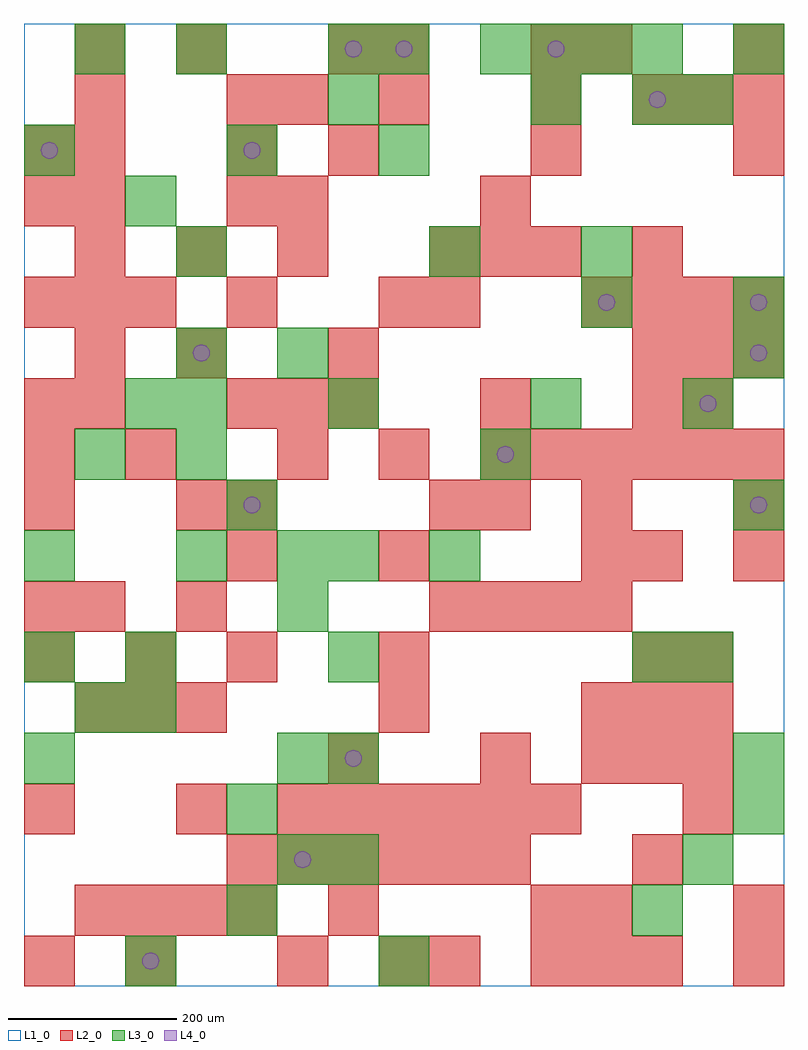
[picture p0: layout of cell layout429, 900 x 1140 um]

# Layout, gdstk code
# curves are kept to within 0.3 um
import gdstk
lib = gdstk.Library(unit=1e-6, precision=1e-09)
def R(c, l, rs):  # rectangles x0, y0, x1, y1
    for r in rs: c.add(gdstk.rectangle(r[:2], r[2:], *l))
def A(c, l, x, y, w, h, nx, ny, dx, dy):  # array of equal rectangles
    R(c, l, [(x+i*dx, y+j*dy, x+i*dx+w, y+j*dy+h) for i in range(nx) for j in range(ny)])
def P(c, l, *ps):  # polygons
    for p in ps: c.add(gdstk.Polygon(p, *l))
L1_0 = (1, 0)
L2_0 = (2, 0)
L3_0 = (3, 0)
L4_0 = (4, 0)

layout429 = lib.new_cell('layout429')
R(layout429, L1_0, [(0,0,900,1140)])
A(layout429, L2_0, 600, 0, 60, 60, 3, 1, 60, 0)
A(layout429, L2_0, 60, 60, 60, 60, 4, 1, 60, 0)
A(layout429, L2_0, 240, 120, 60, 60, 6, 1, 60, 0)
A(layout429, L2_0, 300, 180, 60, 60, 6, 1, 60, 0)
A(layout429, L2_0, 660, 240, 60, 60, 3, 2, 60, 60)
A(layout429, L2_0, 60, 300, 60, 60, 3, 1, 60, 0)
A(layout429, L2_0, 0, 360, 60, 60, 3, 1, 120, 0)
A(layout429, L2_0, 480, 420, 60, 60, 4, 1, 60, 0)
A(layout429, L2_0, 720, 480, 60, 60, 1, 3, 0, 180)
A(layout429, L2_0, 0, 540, 60, 60, 1, 3, 0, 60)
A(layout429, L2_0, 300, 600, 60, 60, 3, 1, 120, 0)
A(layout429, L2_0, 600, 600, 60, 60, 5, 1, 60, 0)
A(layout429, L2_0, 240, 660, 60, 60, 3, 1, 60, 0)
A(layout429, L2_0, 720, 720, 60, 60, 3, 2, 60, 300)
A(layout429, L2_0, 0, 780, 60, 60, 3, 1, 60, 0)
A(layout429, L2_0, 660, 780, 60, 60, 4, 1, 60, 0)
A(layout429, L2_0, 60, 840, 60, 60, 3, 1, 120, 0)
A(layout429, L2_0, 480, 840, 60, 60, 3, 1, 60, 0)
A(layout429, L2_0, 60, 900, 60, 60, 1, 4, 0, 60)
A(layout429, L2_0, 240, 900, 60, 60, 1, 3, 0, 60)
A(layout429, L2_0, 360, 960, 60, 60, 3, 1, 240, 0)
R(layout429, L2_0, [(0,0,60,60), (120,0,180,60), (300,0,360,60), (420,0,480,60), (480,0,540,60), (840,0,900,60), (360,60,420,120), (600,60,660,120), (660,60,720,120), (840,60,900,120), (720,120,780,180), (0,180,60,240), (180,180,240,240), (780,180,840,240), (360,240,420,300), (540,240,600,300), (420,300,480,360), (420,360,480,420), (720,360,780,420), (780,360,840,420), (0,420,60,480), (60,420,120,480), (180,420,240,480), (240,480,300,540), (420,480,480,540), (660,480,720,540), (840,480,900,540), (180,540,240,600), (240,540,300,600), (480,540,540,600), (540,540,600,600), (660,540,720,600), (840,540,900,600), (120,600,180,660), (60,660,120,720), (540,660,600,720), (780,660,840,720), (60,720,120,780), (180,720,240,780), (360,720,420,780), (240,780,300,840), (420,780,480,840), (480,780,540,840), (0,900,60,960), (300,900,360,960), (540,900,600,960), (0,960,60,1020), (300,1020,360,1080), (420,1020,480,1080), (600,1020,660,1080), (180,1080,240,1140), (360,1080,420,1140), (420,1080,480,1140), (600,1080,660,1140), (660,1080,720,1140), (840,1080,900,1140)])
A(layout429, L3_0, 360, 120, 60, 60, 1, 4, 0, 120)
A(layout429, L3_0, 0, 240, 60, 60, 1, 3, 0, 120)
A(layout429, L3_0, 180, 600, 60, 60, 1, 3, 0, 60)
A(layout429, L3_0, 540, 1080, 60, 60, 4, 1, 60, 0)
R(layout429, L3_0, [(120,0,180,60), (420,0,480,60), (240,60,300,120), (720,60,780,120), (300,120,360,180), (780,120,840,180), (240,180,300,240), (840,180,900,240), (300,240,360,300), (840,240,900,300), (60,300,120,360), (120,300,180,360), (120,360,180,420), (720,360,780,420), (780,360,840,420), (300,420,360,480), (180,480,240,540), (300,480,360,540), (480,480,540,540), (240,540,300,600), (840,540,900,600), (60,600,120,660), (540,600,600,660), (120,660,180,720), (360,660,420,720), (600,660,660,720), (780,660,840,720), (300,720,360,780), (840,720,900,780), (660,780,720,840), (840,780,900,840), (180,840,240,900), (480,840,540,900), (660,840,720,900), (120,900,180,960), (0,960,60,1020), (240,960,300,1020), (420,960,480,1020), (360,1020,420,1080), (600,1020,660,1080), (720,1020,780,1080), (780,1020,840,1080), (60,1080,120,1140), (180,1080,240,1140), (360,1080,420,1140), (420,1080,480,1140), (840,1080,900,1140)])
P(layout429, L4_0, [(40,990),(39.239,993.827),(37.071,997.071),(33.827,999.239),(30,1000),(26.173,999.239),(22.929,997.071),(20.761,993.827),(20,990),(20.761,986.173),(22.929,982.929),(26.173,980.761),(30,980),(33.827,980.761),(37.071,982.929),(39.239,986.173)],
  [(160,30),(159.239,33.827),(157.071,37.071),(153.827,39.239),(150,40),(146.173,39.239),(142.929,37.071),(140.761,33.827),(140,30),(140.761,26.173),(142.929,22.929),(146.173,20.761),(150,20),(153.827,20.761),(157.071,22.929),(159.239,26.173)],
  [(220,750),(219.239,753.827),(217.071,757.071),(213.827,759.239),(210,760),(206.173,759.239),(202.929,757.071),(200.761,753.827),(200,750),(200.761,746.173),(202.929,742.929),(206.173,740.761),(210,740),(213.827,740.761),(217.071,742.929),(219.239,746.173)],
  [(280,570),(279.239,573.827),(277.071,577.071),(273.827,579.239),(270,580),(266.173,579.239),(262.929,577.071),(260.761,573.827),(260,570),(260.761,566.173),(262.929,562.929),(266.173,560.761),(270,560),(273.827,560.761),(277.071,562.929),(279.239,566.173)],
  [(280,990),(279.239,993.827),(277.071,997.071),(273.827,999.239),(270,1000),(266.173,999.239),(262.929,997.071),(260.761,993.827),(260,990),(260.761,986.173),(262.929,982.929),(266.173,980.761),(270,980),(273.827,980.761),(277.071,982.929),(279.239,986.173)],
  [(340,150),(339.239,153.827),(337.071,157.071),(333.827,159.239),(330,160),(326.173,159.239),(322.929,157.071),(320.761,153.827),(320,150),(320.761,146.173),(322.929,142.929),(326.173,140.761),(330,140),(333.827,140.761),(337.071,142.929),(339.239,146.173)],
  [(400,270),(399.239,273.827),(397.071,277.071),(393.827,279.239),(390,280),(386.173,279.239),(382.929,277.071),(380.761,273.827),(380,270),(380.761,266.173),(382.929,262.929),(386.173,260.761),(390,260),(393.827,260.761),(397.071,262.929),(399.239,266.173)],
  [(400,1110),(399.239,1113.827),(397.071,1117.071),(393.827,1119.239),(390,1120),(386.173,1119.239),(382.929,1117.071),(380.761,1113.827),(380,1110),(380.761,1106.173),(382.929,1102.929),(386.173,1100.761),(390,1100),(393.827,1100.761),(397.071,1102.929),(399.239,1106.173)],
  [(460,1110),(459.239,1113.827),(457.071,1117.071),(453.827,1119.239),(450,1120),(446.173,1119.239),(442.929,1117.071),(440.761,1113.827),(440,1110),(440.761,1106.173),(442.929,1102.929),(446.173,1100.761),(450,1100),(453.827,1100.761),(457.071,1102.929),(459.239,1106.173)],
  [(580,630),(579.239,633.827),(577.071,637.071),(573.827,639.239),(570,640),(566.173,639.239),(562.929,637.071),(560.761,633.827),(560,630),(560.761,626.173),(562.929,622.929),(566.173,620.761),(570,620),(573.827,620.761),(577.071,622.929),(579.239,626.173)],
  [(640,1110),(639.239,1113.827),(637.071,1117.071),(633.827,1119.239),(630,1120),(626.173,1119.239),(622.929,1117.071),(620.761,1113.827),(620,1110),(620.761,1106.173),(622.929,1102.929),(626.173,1100.761),(630,1100),(633.827,1100.761),(637.071,1102.929),(639.239,1106.173)],
  [(700,810),(699.239,813.827),(697.071,817.071),(693.827,819.239),(690,820),(686.173,819.239),(682.929,817.071),(680.761,813.827),(680,810),(680.761,806.173),(682.929,802.929),(686.173,800.761),(690,800),(693.827,800.761),(697.071,802.929),(699.239,806.173)],
  [(760,1050),(759.239,1053.827),(757.071,1057.071),(753.827,1059.239),(750,1060),(746.173,1059.239),(742.929,1057.071),(740.761,1053.827),(740,1050),(740.761,1046.173),(742.929,1042.929),(746.173,1040.761),(750,1040),(753.827,1040.761),(757.071,1042.929),(759.239,1046.173)],
  [(820,690),(819.239,693.827),(817.071,697.071),(813.827,699.239),(810,700),(806.173,699.239),(802.929,697.071),(800.761,693.827),(800,690),(800.761,686.173),(802.929,682.929),(806.173,680.761),(810,680),(813.827,680.761),(817.071,682.929),(819.239,686.173)],
  [(880,570),(879.239,573.827),(877.071,577.071),(873.827,579.239),(870,580),(866.173,579.239),(862.929,577.071),(860.761,573.827),(860,570),(860.761,566.173),(862.929,562.929),(866.173,560.761),(870,560),(873.827,560.761),(877.071,562.929),(879.239,566.173)],
  [(880,750),(879.239,753.827),(877.071,757.071),(873.827,759.239),(870,760),(866.173,759.239),(862.929,757.071),(860.761,753.827),(860,750),(860.761,746.173),(862.929,742.929),(866.173,740.761),(870,740),(873.827,740.761),(877.071,742.929),(879.239,746.173)],
  [(880,810),(879.239,813.827),(877.071,817.071),(873.827,819.239),(870,820),(866.173,819.239),(862.929,817.071),(860.761,813.827),(860,810),(860.761,806.173),(862.929,802.929),(866.173,800.761),(870,800),(873.827,800.761),(877.071,802.929),(879.239,806.173)])

lib.write_gds('layout429.gds')
